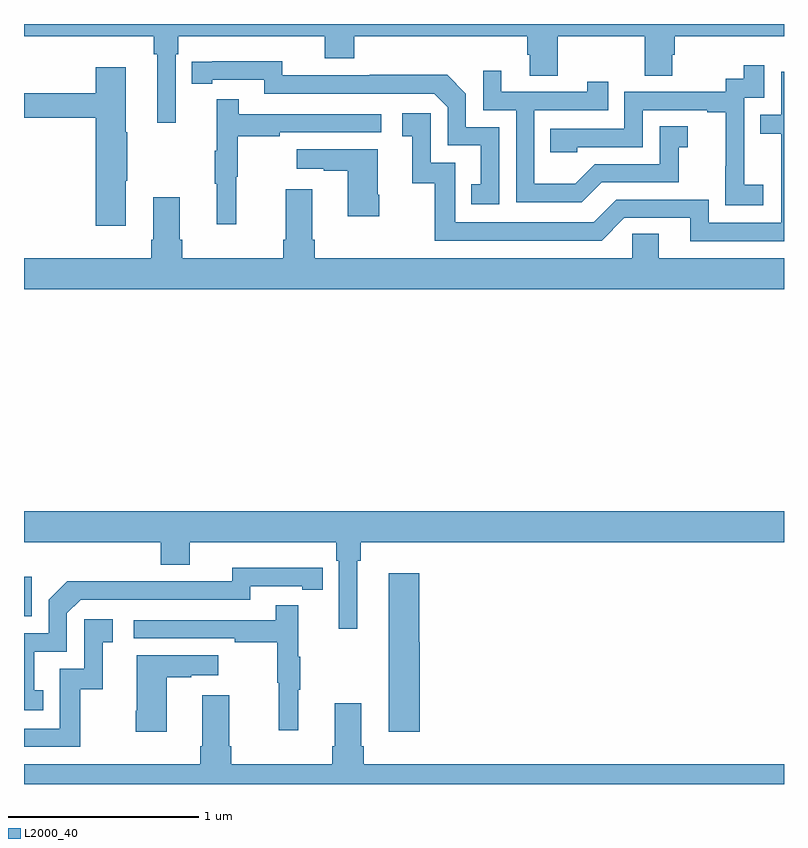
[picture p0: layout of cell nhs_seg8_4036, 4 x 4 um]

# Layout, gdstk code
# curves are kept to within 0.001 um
import gdstk
lib = gdstk.Library(unit=1e-6, precision=1e-09)
def R(c, l, rs):  # rectangles x0, y0, x1, y1
    for r in rs: c.add(gdstk.rectangle(r[:2], r[2:], *l))
def P(c, l, *ps):  # polygons
    for p in ps: c.add(gdstk.Polygon(p, *l))
L2000_40 = (2000, 40)

nhs_seg8_4036 = lib.new_cell('nhs_seg8_4036')
R(nhs_seg8_4036, L2000_40, [(359,1110.783,359.04,1110.991)])
P(nhs_seg8_4036, L2000_40, [(359,1113.836),(359.683,1113.836),(359.683,1113.74),(359.702,1113.74),(359.702,1113.381),(359.799,1113.381),(359.799,1113.74),(359.813,1113.74),(359.813,1113.836),(360.584,1113.836),(360.584,1113.719),(360.737,1113.719),(360.737,1113.836),(361.649,1113.836),(361.649,1113.738),(361.661,1113.738),(361.661,1113.628),(361.809,1113.628),(361.809,1113.836),(362.266,1113.836),(362.266,1113.628),(362.413,1113.628),(362.413,1113.738),(362.426,1113.738),(362.426,1113.836),(363,1113.836),(363,1113.9),(359,1113.9)],
  [(361.5,1113.357),(361.326,1113.357),(361.326,1113.534),(361.228,1113.632),(360.82,1113.632),(360.82,1113.63),(360.36,1113.63),(360.36,1113.703),(359.884,1113.702),(359.884,1113.586),(359.992,1113.586),(359.992,1113.606),(360.264,1113.606),(360.264,1113.534),(361.158,1113.534),(361.23,1113.462),(361.23,1113.261),(361.403,1113.261),(361.403,1113.057),(361.354,1113.057),(361.354,1112.952),(361.5,1112.952)],
  [(362.89,1113.055),(362.792,1113.055),(362.792,1113.284),(362.79,1113.284),(362.79,1113.513),(362.895,1113.513),(362.895,1113.682),(362.787,1113.682),(362.787,1113.612),(362.694,1113.612),(362.694,1113.543),(362.16,1113.543),(362.16,1113.348),(361.771,1113.348),(361.771,1113.225),(361.911,1113.225),(361.911,1113.252),(362.256,1113.252),(362.256,1113.447),(362.597,1113.447),(362.597,1113.435),(362.693,1113.435),(362.693,1113.151),(362.692,1113.151),(362.692,1112.945),(362.89,1112.945)],
  [(359.536,1113.076),(359.544,1113.076),(359.544,1113.329),(359.536,1113.329),(359.536,1113.673),(359.378,1113.673),(359.378,1113.535),(359,1113.535),(359,1113.406),(359.378,1113.406),(359.378,1112.838),(359.536,1112.838)],
  [(362.041,1113.066),(362.445,1113.066),(362.445,1113.251),(362.494,1113.251),(362.494,1113.361),(362.346,1113.361),(362.346,1113.162),(362.004,1113.162),(361.9,1113.058),(361.686,1113.058),(361.686,1113.447),(362.075,1113.447),(362.075,1113.595),(361.964,1113.595),(361.964,1113.543),(361.513,1113.543),(361.513,1113.655),(361.416,1113.655),(361.416,1113.447),(361.59,1113.447),(361.59,1112.961),(361.936,1112.961)],
  [(363,1113.648),(362.985,1113.648),(362.985,1113.423),(362.875,1113.423),(362.875,1113.322),(362.985,1113.322),(362.985,1112.853),(362.604,1112.853),(362.604,1112.976),(362.118,1112.976),(361.998,1112.856),(361.269,1112.856),(361.269,1113.171),(361.14,1113.171),(361.14,1113.43),(360.99,1113.43),(360.99,1113.309),(361.043,1113.309),(361.043,1113.063),(361.161,1113.063),(361.161,1112.76),(362.04,1112.76),(362.16,1112.88),(362.507,1112.88),(362.507,1112.757),(363,1112.757)],
  [(360.116,1113.096),(360.124,1113.096),(360.124,1113.31),(360.347,1113.31),(360.347,1113.33),(360.88,1113.33),(360.88,1113.426),(360.131,1113.426),(360.131,1113.505),(360.014,1113.505),(360.014,1113.233),(360.003,1113.233),(360.003,1113.059),(360.014,1113.059),(360.014,1112.847),(360.116,1112.847)],
  [(360.87,1113.001),(360.862,1113.001),(360.862,1113.241),(360.435,1113.241),(360.435,1113.137),(360.578,1113.137),(360.578,1113.127),(360.704,1113.127),(360.704,1112.889),(360.87,1112.889)],
  [(363,1112.668),(362.341,1112.668),(362.341,1112.795),(362.202,1112.795),(362.202,1112.668),(360.53,1112.668),(360.53,1112.764),(360.517,1112.764),(360.517,1113.031),(360.377,1113.031),(360.377,1112.764),(360.365,1112.764),(360.365,1112.668),(359.834,1112.668),(359.834,1112.764),(359.821,1112.764),(359.821,1112.989),(359.681,1112.989),(359.681,1112.764),(359.669,1112.764),(359.669,1112.668),(359,1112.668),(359,1112.504),(363,1112.504)],
  [(360.754,1111.076),(360.773,1111.076),(360.773,1111.172),(363,1111.172),(363,1111.336),(359,1111.336),(359,1111.172),(359.72,1111.172),(359.72,1111.055),(359.872,1111.055),(359.872,1111.172),(360.644,1111.172),(360.644,1111.076),(360.657,1111.076),(360.657,1110.717),(360.754,1110.717)],
  [(359.102,1110.393),(359.053,1110.393),(359.053,1110.597),(359.226,1110.597),(359.226,1110.798),(359.298,1110.87),(360.192,1110.87),(360.192,1110.942),(360.464,1110.942),(360.464,1110.922),(360.572,1110.922),(360.572,1111.038),(360.096,1111.039),(360.096,1110.966),(359.636,1110.966),(359.636,1110.968),(359.228,1110.968),(359.13,1110.87),(359.13,1110.693),(359,1110.693),(359,1110.288),(359.102,1110.288)],
  [(361.084,1110.645),(361.079,1110.645),(361.079,1111.009),(360.92,1111.009),(360.92,1110.174),(361.084,1110.174)],
  [(360.443,1110.395),(360.454,1110.395),(360.454,1110.569),(360.443,1110.569),(360.443,1110.841),(360.325,1110.841),(360.325,1110.762),(359.577,1110.762),(359.577,1110.666),(360.109,1110.666),(360.109,1110.646),(360.333,1110.646),(360.333,1110.432),(360.34,1110.432),(360.34,1110.183),(360.443,1110.183)],
  [(359.296,1110.399),(359.414,1110.399),(359.414,1110.645),(359.467,1110.645),(359.467,1110.766),(359.316,1110.766),(359.316,1110.507),(359.187,1110.507),(359.187,1110.192),(359,1110.192),(359,1110.096),(359.296,1110.096)],
  [(359.752,1110.463),(359.879,1110.463),(359.879,1110.473),(360.022,1110.473),(360.022,1110.577),(359.594,1110.577),(359.594,1110.286),(359.587,1110.286),(359.587,1110.174),(359.752,1110.174)],
  [(363,1110.004),(360.788,1110.004),(360.788,1110.1),(360.775,1110.1),(360.775,1110.325),(360.635,1110.325),(360.635,1110.1),(360.623,1110.1),(360.623,1110.004),(360.092,1110.004),(360.092,1110.1),(360.079,1110.1),(360.079,1110.367),(359.939,1110.367),(359.939,1110.1),(359.927,1110.1),(359.927,1110.004),(359,1110.004),(359,1109.9),(363,1109.9)])

lib.write_gds('nhs_seg8_4036.gds')
